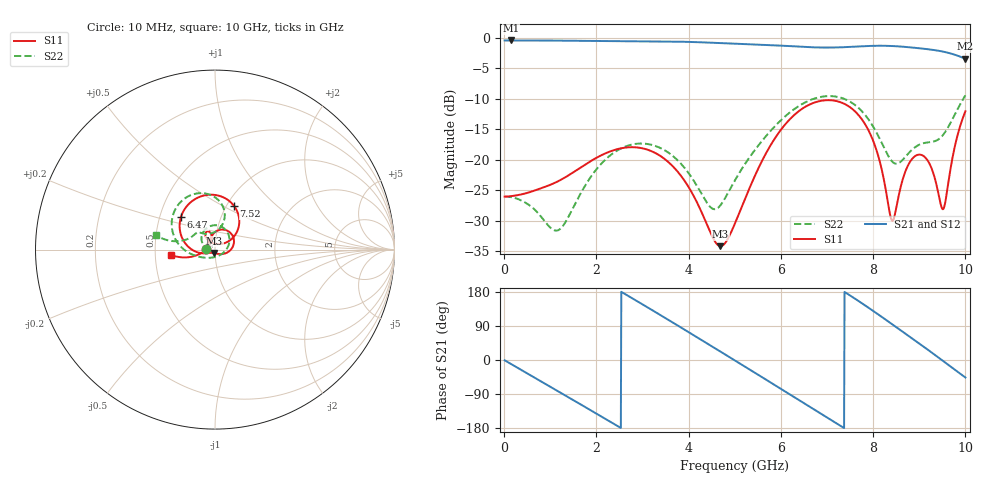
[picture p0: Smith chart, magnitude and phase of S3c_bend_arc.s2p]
! kicad_em_sim: S-parameters of 2 ports, openEMS
# Hz S RI R 50
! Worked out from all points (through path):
!   1000 points, 10 MHz to 10 GHz, reference 50 ohm
!   highest |S21| = -0.46 dB at 150 MHz (marker M1); lowest = -3.5 dB at 10 GHz (marker M2)
!   group delay of S21, straight-line fit = 210 ps
!   lowest |S11| = -34.1 dB at 4.69 GHz (marker M3), VSWR 1.04, Z = 49.6 - j1.9 ohm
!   |S11| at or under -10 dB: start of sweep to end of sweep
!   |S22| runs from -31.6 to -9.5 dB; largest |S21 - S12| = 0.0039
!   S11 on the Smith chart (normalised r, x): 10 MHz: 0.90, +0.00; 6.47 GHz: 0.64, +0.25; 7.52 GHz: 1.08, +0.57; 10 GHz: 0.60, -0.04
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1e7  -0.05 0.000689  0.948 -0.0117  0.948 -0.0117  -0.05 0.000647
1.5e8  -0.0493 0.0103  0.932 -0.1739  0.932 -0.1739  -0.0486 0.00958
9.7e8  -0.0296 0.0542  0.3479 -0.8804  0.3479 -0.8805  -0.02 0.0205
1.24e9  -0.0234 0.0649  0.0411 -0.9442  0.0411 -0.9444  -0.0249 0.0122
1.68e9  -0.0102 0.087  -0.4527 -0.8276  -0.4531 -0.8279  -0.0526 0.0157
2.52e9  0.0588 0.109  -0.9373 -0.0228  -0.9373 -0.0218  -0.0587 0.1083
3.34e9  0.1048 0.0342  -0.4953 0.7897  -0.4944 0.7892  0.0544 0.115
3.98e9  0.0579 -0.0208  0.2399 0.8914  0.2396 0.8909  0.0756 0.0248
4.69e9  -0.00415 -0.0192  0.8358 0.3401  0.8361 0.3402  -0.00369 -0.0423
5.01e9  -0.0245 -0.0181  0.8919 -0.0264  0.8922 -0.0268  -0.0511 -0.0456
5.8e9  -0.136 0.00497  0.4187 -0.7599  0.4181 -0.7602  -0.1763 0.00301
6.47e9  -0.1892 0.1827  -0.3118 -0.7803  -0.3128 -0.7802  -0.2407 0.157
6.67e9  -0.1564 0.2426  -0.4988 -0.6681  -0.5001 -0.6675  -0.2258 0.2149
7.11e9  -0.0207 0.306  -0.7783 -0.2877  -0.7789 -0.2855  -0.1289 0.3057
7.52e9  0.1057 0.2438  -0.8241 0.1646  -0.8222 0.1668  -0.00733 0.2959
8.01e9  0.113 0.0826  -0.5363 0.6682  -0.5336 0.6671  0.0533 0.1764
8.34e9  0.0265 0.0305  -0.1574 0.8413  -0.1565 0.8392  0.0105 0.1052
8.44e9  -0.00102 0.0324  -0.0293 0.8522  -0.0289 0.8504  -0.00962 0.0942
8.87e9  -0.0531 0.0896  0.4779 0.6763  0.4783 0.6754  -0.0801 0.0939
9.24e9  -0.0216 0.0873  0.7392 0.3035  0.7396 0.3011  -0.1066 0.0901
9.53e9  -0.0366 0.0163  0.7645 -0.0511  0.7627 -0.0541  -0.1509 0.0599
1e10  -0.2478 -0.0291  0.4649 -0.4847  0.4613 -0.4839  -0.3273 0.0788
